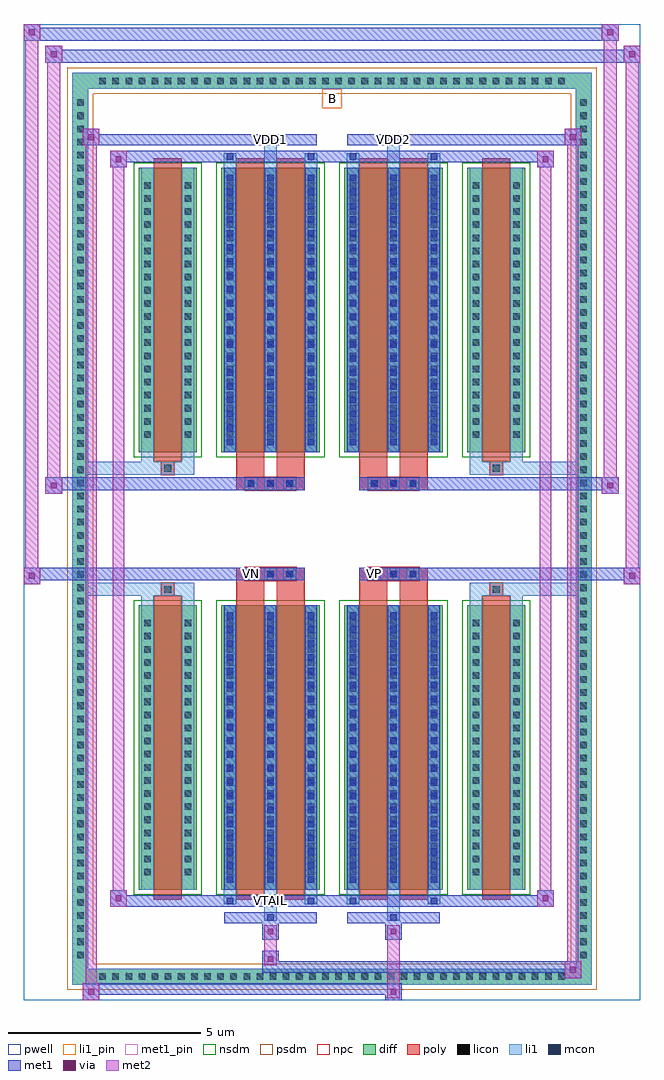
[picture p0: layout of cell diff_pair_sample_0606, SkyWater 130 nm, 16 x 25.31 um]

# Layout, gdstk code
import gdstk
lib = gdstk.Library(unit=1e-6, precision=5e-09)
def R(c, l, rs):  # rectangles x0, y0, x1, y1
    for r in rs: c.add(gdstk.rectangle(r[:2], r[2:], *l))
def A(c, l, x, y, w, h, nx, ny, dx, dy):  # array of equal rectangles
    R(c, l, [(x+i*dx, y+j*dy, x+i*dx+w, y+j*dy+h) for i in range(nx) for j in range(ny)])
def P(c, l, *ps):  # polygons
    for p in ps: c.add(gdstk.Polygon(p, *l))
pwell = (64, 44)
diff = (65, 20)
poly = (66, 20)
licon = (66, 44)
li1_pin = (67, 16)
li1 = (67, 20)
mcon = (67, 44)
met1_pin = (68, 16)
met1 = (68, 20)
via = (68, 44)
met2 = (69, 20)
nsdm = (93, 44)
psdm = (94, 20)
npc = (95, 20)

diff_pair_sample_0606 = lib.new_cell('diff_pair_sample_0606')
R(diff_pair_sample_0606, pwell, [(-8,-12.22,8,13.09), (-5.32,-10.41,-0.01,-0.805), (0.01,-10.41,5.32,-0.805), (-5.32,0.805,-0.01,10.41), (0.01,0.805,5.32,10.41)])
A(diff_pair_sample_0606, diff, -6.155, -11.82, 0.41, 0.41, 36, 2, 0.34, 23.23)
A(diff_pair_sample_0606, diff, -6.73, -11.255, 0.41, 0.41, 1, 66, 0, 0.34)
A(diff_pair_sample_0606, diff, 6.32, -11.255, 0.41, 0.41, 1, 66, 0, 0.34)
R(diff_pair_sample_0606, diff, [(-6.155,-11.82,6.155,-11.41), (-6.73,-11.255,-6.32,11.255), (6.32,-11.255,6.73,11.255), (-5.01,-9.365,-3.51,-1.985), (-2.87,-9.365,-0.32,-1.985), (0.32,-9.365,2.87,-1.985), (3.51,-9.365,5.01,-1.985), (-5.01,1.985,-3.51,9.365), (-2.87,1.985,-0.32,9.365), (0.32,1.985,2.87,9.365), (3.51,1.985,5.01,9.365), (-6.155,11.41,6.155,11.82)])
P(diff_pair_sample_0606, diff, [(6.73,11.82),(-6.73,11.82),(-6.73,-11.41),(-6.32,-11.41),(-6.32,11.41),(6.32,11.41),(6.32,-11.41),(-6.32,-11.41),(-6.73,-11.41),(-6.73,-11.82),(6.73,-11.82)])
A(diff_pair_sample_0606, poly, -2.26, -1.335, 0.33, 0.33, 3, 2, 0.5, 2.34)
A(diff_pair_sample_0606, poly, 0.93, -1.335, 0.33, 0.33, 3, 2, 0.5, 2.34)
R(diff_pair_sample_0606, poly, [(-4.62,-9.615,-3.9,-1.735), (-2.48,-9.615,-1.76,-1.735), (-1.43,-9.615,-0.71,-1.735), (0.71,-9.615,1.43,-1.735), (1.76,-9.615,2.48,-1.735), (3.9,-9.615,4.62,-1.735), (-4.425,-1.735,-4.095,-1.405), (-4.425,-1.735,-4.095,-1.405), (-2.48,-1.735,-1.76,-1.335), (-1.43,-1.735,-0.71,-1.335), (0.71,-1.735,1.43,-1.335), (1.76,-1.735,2.48,-1.335), (4.095,-1.735,4.425,-1.405), (4.095,-1.735,4.425,-1.405), (-2.48,-1.335,-0.71,-1.005), (0.71,-1.335,2.48,-1.005), (-2.48,1.005,-0.71,1.335), (0.71,1.005,2.48,1.335), (-2.48,1.335,-1.76,1.735), (-1.43,1.335,-0.71,1.735), (0.71,1.335,1.43,1.735), (1.76,1.335,2.48,1.735), (-4.425,1.405,-4.095,1.735), (-4.425,1.405,-4.095,1.735), (4.095,1.405,4.425,1.735), (4.095,1.405,4.425,1.735), (-4.62,1.735,-3.9,9.615), (-2.48,1.735,-1.76,9.615), (-1.43,1.735,-0.71,9.615), (0.71,1.735,1.43,9.615), (1.76,1.735,2.48,9.615), (3.9,1.735,4.62,9.615)])
A(diff_pair_sample_0606, licon, -6.035, -11.7, 0.17, 0.17, 36, 2, 0.34, 23.23)
A(diff_pair_sample_0606, licon, -6.61, -11.135, 0.17, 0.17, 1, 66, 0, 0.34)
A(diff_pair_sample_0606, licon, 6.44, -11.135, 0.17, 0.17, 1, 66, 0, 0.34)
A(diff_pair_sample_0606, licon, -4.87, -8.99, 0.17, 0.17, 1, 20, 0, 0.34)
A(diff_pair_sample_0606, licon, -3.82, -8.99, 0.17, 0.17, 1, 20, 0, 0.34)
A(diff_pair_sample_0606, licon, -2.73, -8.99, 0.17, 0.17, 3, 20, 1.05, 0.34)
A(diff_pair_sample_0606, licon, 0.46, -8.99, 0.17, 0.17, 3, 20, 1.05, 0.34)
A(diff_pair_sample_0606, licon, 3.65, -8.99, 0.17, 0.17, 1, 20, 0, 0.34)
A(diff_pair_sample_0606, licon, 4.7, -8.99, 0.17, 0.17, 1, 20, 0, 0.34)
A(diff_pair_sample_0606, licon, -2.18, -1.255, 0.17, 0.17, 3, 2, 0.5, 2.34)
A(diff_pair_sample_0606, licon, 1.01, -1.255, 0.17, 0.17, 3, 2, 0.5, 2.34)
A(diff_pair_sample_0606, licon, -4.87, 2.36, 0.17, 0.17, 1, 20, 0, 0.34)
A(diff_pair_sample_0606, licon, -3.82, 2.36, 0.17, 0.17, 1, 20, 0, 0.34)
A(diff_pair_sample_0606, licon, -2.73, 2.36, 0.17, 0.17, 3, 20, 1.05, 0.34)
A(diff_pair_sample_0606, licon, 0.46, 2.36, 0.17, 0.17, 3, 20, 1.05, 0.34)
A(diff_pair_sample_0606, licon, 3.65, 2.36, 0.17, 0.17, 1, 20, 0, 0.34)
A(diff_pair_sample_0606, licon, 4.7, 2.36, 0.17, 0.17, 1, 20, 0, 0.34)
R(diff_pair_sample_0606, licon, [(-4.345,-1.655,-4.175,-1.485), (4.175,-1.655,4.345,-1.485), (-4.345,1.485,-4.175,1.655), (4.175,1.485,4.345,1.655)])
R(diff_pair_sample_0606, li1_pin, [(-0.25,10.91,0.25,11.41)])
A(diff_pair_sample_0606, li1, -6.115, -11.78, 0.33, 0.33, 36, 2, 0.34, 23.23)
A(diff_pair_sample_0606, li1, -6.69, -11.215, 0.33, 0.33, 1, 66, 0, 0.34)
A(diff_pair_sample_0606, li1, 6.36, -11.215, 0.33, 0.33, 1, 66, 0, 0.34)
A(diff_pair_sample_0606, li1, -2.81, -9.365, 0.33, 7.38, 3, 2, 1.05, 11.35)
A(diff_pair_sample_0606, li1, 0.38, -9.365, 0.33, 7.38, 3, 2, 1.05, 11.35)
A(diff_pair_sample_0606, li1, -2.73, -9.18, 0.17, 0.17, 3, 20, 1.05, 0.36)
A(diff_pair_sample_0606, li1, -2.73, -9.18, 0.17, 7.01, 3, 2, 1.05, 11.35)
A(diff_pair_sample_0606, li1, 0.46, -9.18, 0.17, 0.17, 3, 20, 1.05, 0.36)
A(diff_pair_sample_0606, li1, 0.46, -9.18, 0.17, 7.01, 3, 2, 1.05, 11.35)
A(diff_pair_sample_0606, li1, -4.95, -9.07, 0.33, 0.33, 1, 20, 0, 0.34)
A(diff_pair_sample_0606, li1, -3.9, -9.07, 0.33, 0.33, 1, 20, 0, 0.34)
A(diff_pair_sample_0606, li1, -2.81, -9.07, 0.33, 0.33, 3, 20, 1.05, 0.34)
A(diff_pair_sample_0606, li1, 0.38, -9.07, 0.33, 0.33, 3, 20, 1.05, 0.34)
A(diff_pair_sample_0606, li1, 3.57, -9.07, 0.33, 0.33, 1, 20, 0, 0.34)
A(diff_pair_sample_0606, li1, 4.62, -9.07, 0.33, 0.33, 1, 20, 0, 0.34)
A(diff_pair_sample_0606, li1, -2.26, -1.335, 0.33, 0.33, 3, 2, 0.5, 2.34)
A(diff_pair_sample_0606, li1, 0.93, -1.335, 0.33, 0.33, 3, 2, 0.5, 2.34)
A(diff_pair_sample_0606, li1, -2.73, 2.17, 0.17, 0.17, 3, 20, 1.05, 0.36)
A(diff_pair_sample_0606, li1, 0.46, 2.17, 0.17, 0.17, 3, 20, 1.05, 0.36)
A(diff_pair_sample_0606, li1, -4.95, 2.28, 0.33, 0.33, 1, 20, 0, 0.34)
A(diff_pair_sample_0606, li1, -3.9, 2.28, 0.33, 0.33, 1, 20, 0, 0.34)
A(diff_pair_sample_0606, li1, -2.81, 2.28, 0.33, 0.33, 3, 20, 1.05, 0.34)
A(diff_pair_sample_0606, li1, 0.38, 2.28, 0.33, 0.33, 3, 20, 1.05, 0.34)
A(diff_pair_sample_0606, li1, 3.57, 2.28, 0.33, 0.33, 1, 20, 0, 0.34)
A(diff_pair_sample_0606, li1, 4.62, 2.28, 0.33, 0.33, 1, 20, 0, 0.34)
R(diff_pair_sample_0606, li1, [(-6.73,-11.82,-6.32,-11.41), (-6.73,-11.82,-6.32,-11.41), (-6.32,-11.82,6.32,-11.41), (6.32,-11.82,6.73,-11.41), (6.32,-11.82,6.73,-11.41), (-6.73,-11.41,-6.32,11.41), (6.32,-11.41,6.73,11.41), (-1.76,-10.17,-1.43,-9.365), (-1.68,-10.17,-1.51,-10), (1.43,-10.17,1.76,-9.365), (1.51,-10.17,1.68,-10), (-2.81,-9.74,-2.48,-9.365), (-2.73,-9.74,-2.56,-9.57), (-0.71,-9.74,-0.38,-9.365), (-0.63,-9.74,-0.46,-9.57), (0.38,-9.74,0.71,-9.365), (0.46,-9.74,0.63,-9.57), (2.48,-9.74,2.81,-9.365), (2.56,-9.74,2.73,-9.57), (-4.95,-9.365,-4.62,-1.985), (-3.9,-9.365,-3.57,-1.985), (3.57,-9.365,3.9,-1.985), (4.62,-9.365,4.95,-1.985), (-4.95,-1.985,-4.62,-1.405), (-3.9,-1.985,-3.57,-1.405), (3.57,-1.985,3.9,-1.405), (4.62,-1.985,4.95,-1.405), (-6.73,-1.735,-4.425,-1.405), (-4.95,-1.735,-4.425,-1.405), (-4.425,-1.735,-4.095,-1.405), (-4.095,-1.735,-3.57,-1.405), (3.57,-1.735,4.095,-1.405), (4.095,-1.735,4.425,-1.405), (4.095,-1.735,6.73,-1.405), (4.425,-1.735,4.95,-1.405), (-6.73,1.405,-4.425,1.735), (-4.95,1.405,-4.425,1.735), (-4.95,1.405,-4.62,1.985), (-4.425,1.405,-4.095,1.735), (-4.095,1.405,-3.57,1.735), (-3.9,1.405,-3.57,1.985), (3.57,1.405,4.095,1.735), (3.57,1.405,3.9,1.985), (4.095,1.405,4.425,1.735), (4.095,1.405,6.73,1.735), (4.425,1.405,4.95,1.735), (4.62,1.405,4.95,1.985), (-4.95,1.985,-4.62,9.365), (-3.9,1.985,-3.57,9.365), (3.57,1.985,3.9,9.365), (4.62,1.985,4.95,9.365), (-2.81,9.365,-2.48,9.74), (-1.76,9.365,-1.43,10.17), (-0.71,9.365,-0.38,9.74), (0.38,9.365,0.71,9.74), (1.43,9.365,1.76,10.17), (2.48,9.365,2.81,9.74), (-2.73,9.57,-2.56,9.74), (-0.63,9.57,-0.46,9.74), (0.46,9.57,0.63,9.74), (2.56,9.57,2.73,9.74), (-1.68,10,-1.51,10.17), (1.51,10,1.68,10.17), (-6.73,11.41,-6.32,11.82), (-6.73,11.41,-6.32,11.82), (-6.32,11.41,6.32,11.82), (6.32,11.41,6.73,11.82), (6.32,11.41,6.73,11.82)])
A(diff_pair_sample_0606, mcon, -2.73, -9.18, 0.17, 0.17, 3, 20, 1.05, 0.36)
A(diff_pair_sample_0606, mcon, 0.46, -9.18, 0.17, 0.17, 3, 20, 1.05, 0.36)
A(diff_pair_sample_0606, mcon, -2.18, -1.255, 0.17, 0.17, 3, 2, 0.5, 2.34)
A(diff_pair_sample_0606, mcon, 1.01, -1.255, 0.17, 0.17, 3, 2, 0.5, 2.34)
A(diff_pair_sample_0606, mcon, -2.73, 2.17, 0.17, 0.17, 3, 20, 1.05, 0.36)
A(diff_pair_sample_0606, mcon, 0.46, 2.17, 0.17, 0.17, 3, 20, 1.05, 0.36)
R(diff_pair_sample_0606, mcon, [(-1.68,-10.17,-1.51,-10), (1.51,-10.17,1.68,-10), (-2.73,-9.74,-2.56,-9.57), (-0.63,-9.74,-0.46,-9.57), (0.46,-9.74,0.63,-9.57), (2.56,-9.74,2.73,-9.57), (-2.73,9.57,-2.56,9.74), (-0.63,9.57,-0.46,9.74), (0.46,9.57,0.63,9.74), (2.56,9.57,2.73,9.74), (-1.68,10,-1.51,10.17), (1.51,10,1.68,10.17)])
R(diff_pair_sample_0606, met1_pin, [(-1.73,-9.78,-1.46,-9.51), (-2.23,-1.295,-1.96,-1.025), (0.96,-1.295,1.23,-1.025), (-1.73,9.96,-1.46,10.23), (1.46,9.96,1.73,10.23)])
A(diff_pair_sample_0606, met1, -2.79, -9.365, 0.29, 7.38, 3, 2, 1.05, 11.35)
A(diff_pair_sample_0606, met1, 0.4, -9.365, 0.29, 7.38, 3, 2, 1.05, 11.35)
A(diff_pair_sample_0606, met1, -2.79, -9.24, 0.29, 0.29, 3, 20, 1.05, 0.36)
A(diff_pair_sample_0606, met1, 0.4, -9.24, 0.29, 0.29, 3, 20, 1.05, 0.36)
A(diff_pair_sample_0606, met1, -2.24, -1.315, 0.29, 0.29, 3, 2, 0.5, 2.34)
A(diff_pair_sample_0606, met1, 0.95, -1.315, 0.29, 0.29, 3, 2, 0.5, 2.34)
A(diff_pair_sample_0606, met1, -2.79, 2.11, 0.29, 0.29, 3, 20, 1.05, 0.36)
A(diff_pair_sample_0606, met1, 0.4, 2.11, 0.29, 0.29, 3, 20, 1.05, 0.36)
R(diff_pair_sample_0606, met1, [(-6.46,-12.22,-6.03,-11.79), (1.38,-12.22,1.81,-11.79), (-6.46,-12.08,1.81,-11.79), (6.03,-11.65,6.46,-11.22), (-1.81,-11.51,6.46,-11.22), (-1.81,-11.37,-1.38,-10.94), (-1.81,-10.66,-1.38,-10.23), (1.38,-10.66,1.81,-10.23), (-2.79,-10.23,-0.4,-9.94), (-1.74,-10.23,-1.45,-9.94), (0.4,-10.23,2.79,-9.94), (1.45,-10.23,1.74,-9.94), (-5.75,-9.8,-5.32,-9.37), (-5.75,-9.8,-2.79,-9.51), (-2.79,-9.8,-2.5,-9.51), (-2.79,-9.8,-0.4,-9.51), (-0.69,-9.8,-0.4,-9.51), (-0.4,-9.8,0.4,-9.51), (0.4,-9.8,0.69,-9.51), (0.4,-9.8,2.79,-9.51), (2.5,-9.8,2.79,-9.51), (2.79,-9.8,5.75,-9.51), (5.32,-9.8,5.75,-9.37), (-8,-1.435,-7.57,-1.005), (7.57,-1.435,8,-1.005), (-8,-1.335,-0.71,-1.005), (-2.48,-1.335,-0.71,-1.005), (0.71,-1.335,2.48,-1.005), (0.71,-1.335,8,-1.005), (-7.43,0.905,-7,1.335), (7,0.905,7.43,1.335), (-7.43,1.005,-2.48,1.335), (-2.48,1.005,-0.71,1.335), (0.71,1.005,2.48,1.335), (2.48,1.005,7.43,1.335), (-5.75,9.37,-5.32,9.8), (5.32,9.37,5.75,9.8), (-5.75,9.51,-2.79,9.8), (-2.79,9.51,-2.5,9.8), (-2.79,9.51,-0.4,9.8), (-0.69,9.51,-0.4,9.8), (-0.4,9.51,0.4,9.8), (0.4,9.51,0.69,9.8), (0.4,9.51,2.79,9.8), (2.5,9.51,2.79,9.8), (2.79,9.51,5.75,9.8), (-6.46,9.94,-6.03,10.37), (-6.46,9.94,-2.79,10.23), (-2.79,9.94,-0.4,10.23), (-1.74,9.94,-1.45,10.23), (0.4,9.94,2.79,10.23), (1.45,9.94,1.74,10.23), (2.79,9.94,6.46,10.23), (6.03,9.94,6.46,10.37), (-7.43,12.09,-7,12.52), (-7.43,12.09,-5.32,12.42), (-5.32,12.09,5.32,12.42), (5.32,12.09,8,12.42), (7.57,12.09,8,12.52), (-8,12.66,-7.57,13.09), (-8,12.66,-5.32,12.99), (-5.32,12.66,5.32,12.99), (5.32,12.66,7.43,12.99), (7,12.66,7.43,13.09)])
R(diff_pair_sample_0606, via, [(-6.32,-12.08,-6.17,-11.93), (1.52,-12.08,1.67,-11.93), (6.17,-11.51,6.32,-11.36), (-1.67,-11.23,-1.52,-11.08), (-1.67,-10.52,-1.52,-10.37), (1.52,-10.52,1.67,-10.37), (-5.61,-9.66,-5.46,-9.51), (5.46,-9.66,5.61,-9.51), (-7.86,-1.295,-7.71,-1.145), (7.71,-1.295,7.86,-1.145), (-7.29,1.045,-7.14,1.195), (7.14,1.045,7.29,1.195), (-5.61,9.51,-5.46,9.66), (5.46,9.51,5.61,9.66), (-6.32,10.08,-6.17,10.23), (6.17,10.08,6.32,10.23), (-7.29,12.23,-7.14,12.38), (7.71,12.23,7.86,12.38), (-7.86,12.8,-7.71,12.95), (7.14,12.8,7.29,12.95)])
R(diff_pair_sample_0606, met2, [(-6.46,-12.22,-6.03,-11.79), (-6.39,-12.22,-6.1,10.37), (-6.1,-12.22,-6.03,-11.79), (-6.41,-12.17,-6.08,-11.84), (1.43,-12.17,1.76,-11.84), (1.43,-11.84,1.76,-10.61), (6.03,-11.65,6.46,-11.22), (6.1,-11.65,6.39,10.37), (6.39,-11.65,6.46,-11.22), (6.08,-11.6,6.41,-11.27), (-1.76,-11.32,-1.43,-10.99), (-1.76,-10.99,-1.43,-10.61), (-1.76,-10.61,-1.43,-10.28), (1.43,-10.61,1.76,-10.28), (-5.75,-9.8,-5.32,-9.37), (-5.68,-9.8,-5.39,9.8), (-5.39,-9.8,-5.32,-9.37), (5.32,-9.8,5.75,-9.37), (5.39,-9.8,5.68,9.8), (5.68,-9.8,5.75,-9.37), (-5.7,-9.75,-5.37,-9.42), (5.37,-9.75,5.7,-9.42), (-8,-1.435,-7.57,-1.005), (-7.95,-1.435,-7.62,13.09), (-7.62,-1.435,-7.57,-1.005), (7.57,-1.435,8,-1.005), (7.62,-1.435,7.95,12.52), (7.95,-1.435,8,-1.005), (-7.95,-1.385,-7.62,-1.055), (7.62,-1.385,7.95,-1.055), (-7.43,0.905,-7,1.335), (-7.38,0.905,-7.05,12.52), (-7.05,0.905,-7,1.335), (7,0.905,7.43,1.335), (7.05,0.905,7.38,13.09), (7.38,0.905,7.43,1.335), (-7.38,0.955,-7.05,1.285), (7.05,0.955,7.38,1.285), (-5.75,9.37,-5.32,9.8), (-5.39,9.37,-5.32,9.8), (5.32,9.37,5.75,9.8), (5.68,9.37,5.75,9.8), (-5.7,9.42,-5.37,9.75), (5.37,9.42,5.7,9.75), (-6.46,9.94,-6.03,10.37), (-6.1,9.94,-6.03,10.37), (6.03,9.94,6.46,10.37), (6.39,9.94,6.46,10.37), (-6.41,9.99,-6.08,10.32), (6.08,9.99,6.41,10.32), (-7.43,12.09,-7,12.52), (-7.05,12.09,-7,12.52), (7.57,12.09,8,12.52), (7.95,12.09,8,12.52), (-7.38,12.14,-7.05,12.47), (7.62,12.14,7.95,12.47), (-8,12.66,-7.57,13.09), (-7.62,12.66,-7.57,13.09), (7,12.66,7.43,13.09), (7.38,12.66,7.43,13.09), (-7.95,12.71,-7.62,13.04), (7.05,12.71,7.38,13.04)])
R(diff_pair_sample_0606, nsdm, [(-5.14,-9.495,-3.38,-1.855), (-3,-9.495,-0.19,-1.855), (0.19,-9.495,3,-1.855), (3.38,-9.495,5.14,-1.855), (-5.14,1.855,-3.38,9.495), (-3,1.855,-0.19,9.495), (0.19,1.855,3,9.495), (3.38,1.855,5.14,9.495)])
P(diff_pair_sample_0606, psdm, [(6.86,11.95),(-6.86,11.95),(-6.86,-11.28),(-6.19,-11.28),(-6.19,11.28),(6.19,11.28),(6.19,-11.28),(-6.19,-11.28),(-6.86,-11.28),(-6.86,-11.95),(6.86,-11.95)])
A(diff_pair_sample_0606, npc, -2.28, -1.355, 0.37, 0.37, 3, 2, 0.5, 2.34)
A(diff_pair_sample_0606, npc, 0.91, -1.355, 0.37, 0.37, 3, 2, 0.5, 2.34)
R(diff_pair_sample_0606, npc, [(-4.445,-1.755,-4.075,-1.385), (4.075,-1.755,4.445,-1.385), (-2.28,-1.355,-1.41,-0.985), (-2.28,-1.355,-1.41,-0.985), (-1.78,-1.355,-0.91,-0.985), (-1.78,-1.355,-0.91,-0.985), (0.91,-1.355,1.78,-0.985), (0.91,-1.355,1.78,-0.985), (1.41,-1.355,2.28,-0.985), (1.41,-1.355,2.28,-0.985), (-2.28,0.985,-1.41,1.355), (-2.28,0.985,-1.41,1.355), (-1.78,0.985,-0.91,1.355), (-1.78,0.985,-0.91,1.355), (0.91,0.985,1.78,1.355), (0.91,0.985,1.78,1.355), (1.41,0.985,2.28,1.355), (1.41,0.985,2.28,1.355), (-4.445,1.385,-4.075,1.755), (4.075,1.385,4.445,1.755)])
diff_pair_sample_0606.add(gdstk.Label('VTAIL', (-1.595,-9.645), layer=68, texttype=5))
diff_pair_sample_0606.add(gdstk.Label('VN', (-2.095,-1.16), layer=68, texttype=5))
diff_pair_sample_0606.add(gdstk.Label('VP', (1.095,-1.16), layer=68, texttype=5))
diff_pair_sample_0606.add(gdstk.Label('B', (0,11.16), layer=67, texttype=5))
diff_pair_sample_0606.add(gdstk.Label('VDD2', (1.595,10.095), layer=68, texttype=5))
diff_pair_sample_0606.add(gdstk.Label('VDD1', (-1.595,10.095), layer=68, texttype=5))

lib.write_gds('diff_pair_sample_0606.gds')
